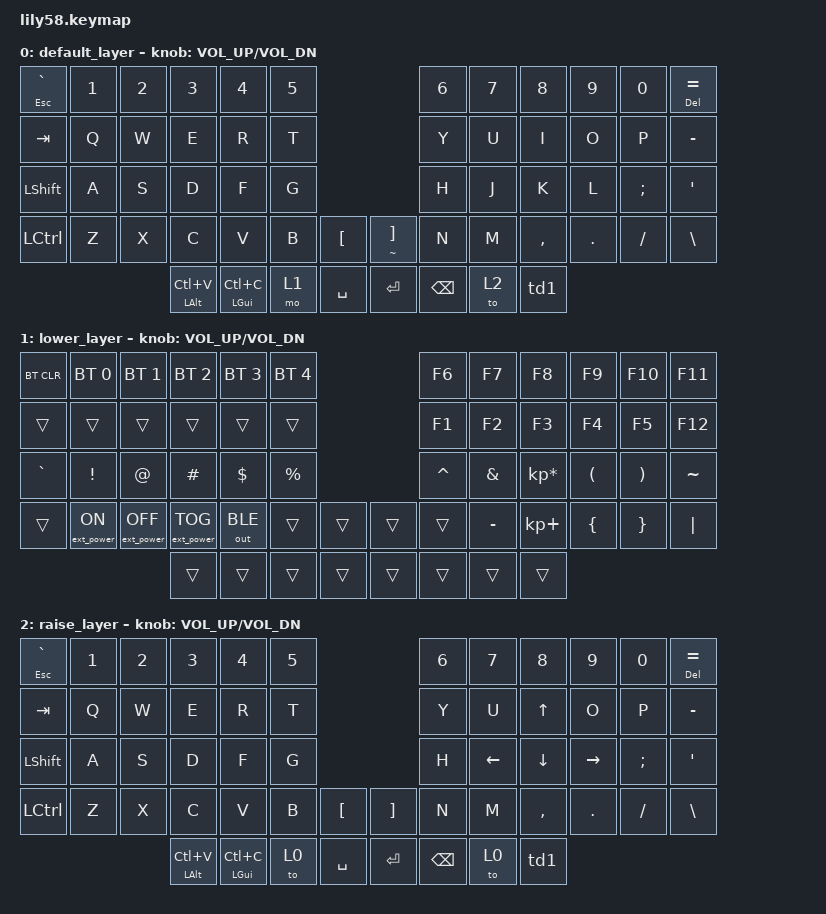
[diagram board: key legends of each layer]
/*
 * Copyright (c) 2020 The ZMK Contributors
 *
 * SPDX-License-Identifier: MIT
 */

#include <behaviors.dtsi>
#include <dt-bindings/zmk/keys.h>
#include <dt-bindings/zmk/bt.h>
#include <dt-bindings/zmk/ext_power.h>
#include <dt-bindings/zmk/outputs.h>

/ {

    behaviors {
        ht_tp: hold_tap_tap_preferrd {
            compatible = "zmk,behavior-hold-tap";
            label = "HOLD_TAP_PREFERRED";
            #binding-cells = <2>;
            tapping-term-ms = <250>;
            flavor = "tap-preferred";
            bindings = <&kp>, <&kp>;
        };


        td1: tap_dance_1 {
            compatible = "zmk,behavior-tap-dance";
            label = "TAP_DANCE_1";
            #binding-cells = <0>;
            tapping-term-ms = <200>;
            bindings = <&kp LC(Z)>, <&kp LC(Y)>;
        };
    };

    macros {
        copy: copy {
            label = "COPY";
            compatible = "zmk,behavior-macro";
            #binding-cells = <0>;
            bindings
                = <&macro_press &kp LCTRL>
                , <&macro_tap &kp C>
                , <&macro_release &kp LCTRL>
                ;
        };
        paste: paste {
            label = "PASTE";
            compatible = "zmk,behavior-macro";
            #binding-cells = <0>;
            bindings
                = <&macro_press &kp LCTRL>
                , <&macro_tap &kp V>
                , <&macro_release &kp LCTRL>
                ;
        };
    };

    keymap {
        compatible = "zmk,keymap";

        default_layer {
// ------------------------------------------------------------------------------------------------------------
// | `/ESC |  1  |  2  |     3     |     4     |  5   |                   |  6   |  7        |  8        |  9   |   0   |    =      |
// |  TAB  |  Q  |  W  |     E     |     R     |  T   |                   |  Y   |  U        |  I        |  O   |   P   |    \      |
// | SHIFT |  A  |  S  |     D     |     F     |  G   |                   |  H   |  J        |  K        |  L   |   ;   |    '      |
// | CTRL  |  Z  |  X  |     C     |     V     |  B   |   "["  |  | "]/~" |  N   |  M        |  ,        |  .   |   /   |    -      |
//                     | paste/ALT | copy/GUI  | LOWER|  SPACE |  | ENTER | BSPC | TO RAISE  | UNDO/REDO |
            bindings = <
&ht_tp ESC GRAVE &kp N1 &kp N2 &kp N3          &kp N4         &kp N5                           &kp N6   &kp N7   &kp N8    &kp N9  &kp N0   &ht_tp DEL EQUAL
&kp TAB          &kp Q  &kp W  &kp E           &kp R          &kp T                            &kp Y    &kp U    &kp I     &kp O   &kp P    &kp MINUS
&kp LSHFT        &kp A  &kp S  &kp D           &kp F          &kp G                            &kp H    &kp J    &kp K     &kp L   &kp SEMI &kp SQT
&kp LCTRL        &kp Z  &kp X  &kp C           &kp V          &kp B  &kp LBKT   &mt TILDE RBKT &kp N    &kp M    &kp COMMA &kp DOT &kp FSLH &kp BSLH
                               &mt LALT LC(V)  &mt LGUI LC(C) &mo 1  &kp SPACE  &kp RET        &kp BSPC &to 2    &td1
            >;

            sensor-bindings = <&inc_dec_kp C_VOL_UP C_VOL_DN>;
        };

        lower_layer {
// ------------------------------------------------------------------------------------------------------------
// | BTCLR | BT1 | BT2  |  BT3 |    BT4  |  BT5 |                   |  F6  |  F7   |  F8   |  F9  |  F10  | F11  |
// |       |     |      |      |         |      |                   |  F1  |  F2   |  F3   |  F4  |  F5   | F12  |
// |   `   |  !  |  @   |  #   |    $    |  %   |                   |  ^   |  &    |  *    |  (   |   )   |  ~   |
// |       |EP_ON|EP_OFF|EP_TOG| OUT_BLE |      |        |  |       |      |  _    |  +    |  {   |   }   | "|"  |
//                      |      |         |      |        |  |       |      |       |       |
            bindings = <
&bt BT_CLR &bt BT_SEL 0     &bt BT_SEL 1      &bt BT_SEL 2      &bt BT_SEL 3 &bt BT_SEL 4                    &kp F6    &kp F7    &kp F8          &kp F9    &kp F10   &kp F11
&trans     &trans           &trans            &trans            &trans       &trans                          &kp F1    &kp F2    &kp F3          &kp F4    &kp F5    &kp F12
&kp GRAVE  &kp EXCL         &kp AT            &kp HASH          &kp DOLLAR   &kp PRCNT                       &kp CARET &kp AMPS  &kp KP_MULTIPLY &kp LPAR  &kp RPAR  &kp TILDE
&trans     &ext_power EP_ON &ext_power EP_OFF &ext_power EP_TOG &out OUT_BLE       &trans    &trans      &trans    &trans    &kp MINUS &kp KP_PLUS     &kp LBRC  &kp RBRC  &kp PIPE
                                              &trans            &trans       &trans    &trans      &trans    &trans    &trans    &trans
            >;

            sensor-bindings = <&inc_dec_kp C_VOL_UP C_VOL_DN>;
        };

        raise_layer {
// ------------------------------------------------------------------------------------------------------------
// | `/ESC |  1  |  2  |     3     |     4    |   5   |                   |  6   |      7     |  8        |  9     |   0   |   =   |
// |  TAB  |  Q  |  W  |     E     |     R    |   T   |                   |  Y   |      U     |  UP       |  O     |   P   |   -   |
// | SHIFT |  A  |  S  |     D     |     F    |   G   |                   |  H   |     LEFT   |  DOWN     |  RIGHT |   ;   |   '   |
// |  CTRL |  Z  |  X  |     C     |     V    |   B   |   "["  |  |  "]"  |  N   |      M     |  ,        |  .     |   /   |   \   |
//                     | paste/ALT | copy/GUI | LOWER |  SPACE |  | ENTER | BSPC | TO DEFAULT | UNDO/REDO |
            bindings = <
&ht_tp ESC GRAVE &kp N1 &kp N2 &kp N3          &kp N4         &kp N5                     &kp N6   &kp N7   &kp N8    &kp N9    &kp N0   &ht_tp DEL EQUAL
&kp TAB          &kp Q  &kp W  &kp E           &kp R          &kp T                      &kp Y    &kp U    &kp UP    &kp O     &kp P    &kp MINUS
&kp LSHFT        &kp A  &kp S  &kp D           &kp F          &kp G                      &kp H    &kp LEFT &kp DOWN  &kp RIGHT &kp SEMI &kp SQT
&kp LCTRL        &kp Z  &kp X  &kp C           &kp V          &kp B  &kp LBKT   &kp RBKT &kp N    &kp M    &kp COMMA &kp DOT   &kp FSLH &kp BSLH
                               &mt LALT LC(V)  &mt LGUI LC(C) &to 0  &kp SPACE  &kp RET  &kp BSPC &to 0    &td1
            >;

            sensor-bindings = <&inc_dec_kp C_VOL_UP C_VOL_DN>;
        };
    }; 
};
